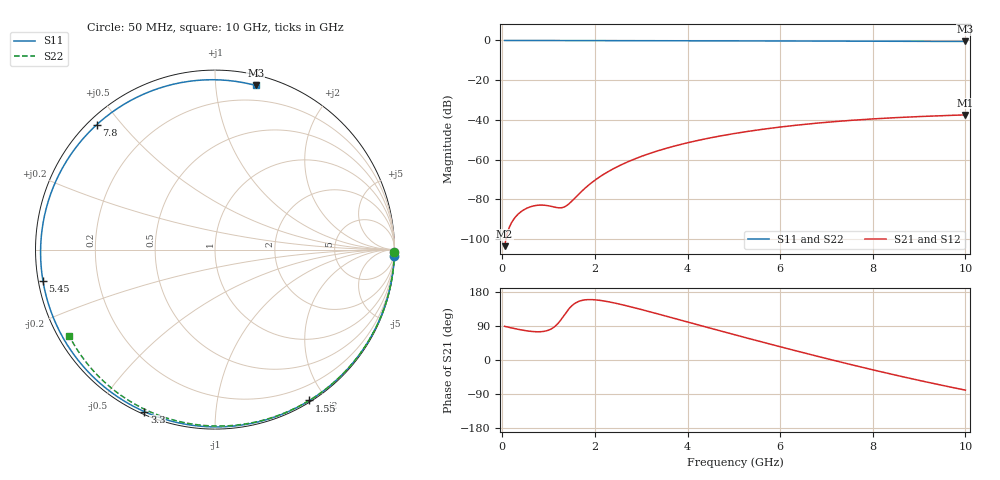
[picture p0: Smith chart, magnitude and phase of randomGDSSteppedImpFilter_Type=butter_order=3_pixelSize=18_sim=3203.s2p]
! freq	dB(S11)	phase(S11)	dB(S12)	phase(S12)
!  dB(S21)	phase(S21)	dB(S22)	phase(S22)
!S-par simulation data
#  GHz  S  DB  R 50
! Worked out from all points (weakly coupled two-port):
!   200 points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, 50 MHz to 10 GHz, reference 50 ohm
!   highest |S21| = -37.50 dB at 10 GHz (marker M1); lowest = -103.6 dB at 50 MHz (marker M2)
!   lowest |S11| = -0.5 dB at 10 GHz (marker M3), VSWR 33.71, Z = 3.9 + j63.8 ohm
!   |S11| at or under -10 dB: nowhere
!   |S22| runs from -0.5 to 0.0 dB; largest |S21 - S12| = 0
!   S11 on the Smith chart (normalised r, x): 50 MHz: 0, -59; 1.55 GHz: 0.02, -1.81; 3.3 GHz: 0.01, -0.65; 5.45 GHz: 0.01, -0.09; 7.8 GHz: 0.03, +0.43; 10 GHz: 0.08, +1.28
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0.05  -0.00 -2.0  -103.64 88.8  -103.64 88.8  -0.00 -0.9
0.4  -0.02 -15.4  -86.35 79.6  -86.35 79.6  -0.01 -6.9
0.75  -0.04 -28.8  -83.07 74.5  -83.07 74.5  -0.02 -12.9
1.15  -0.05 -43.6  -84.07 90.0  -84.07 90.0  -0.03 -19.7
1.55  -0.07 -58.0  -79.83 147.9  -79.83 147.9  -0.03 -26.5
1.75  -0.08 -64.9  -75.21 158.0  -75.21 158.0  -0.04 -29.8
2.05  -0.09 -75.0  -69.58 158.3  -69.58 158.3  -0.04 -34.8
2.4  -0.10 -86.4  -64.62 151.0  -64.62 151.0  -0.05 -40.6
2.8  -0.12 -98.8  -60.26 139.6  -60.26 139.6  -0.06 -47.1
3.3  -0.13 -113.6  -56.04 123.6  -56.04 123.6  -0.07 -55.1
3.4  -0.14 -116.4  -55.31 120.3  -55.31 120.3  -0.08 -56.7
4.25  -0.17 -139.5  -50.24 92.0  -50.24 92.0  -0.10 -69.8
5.05  -0.20 -159.8  -46.74 65.6  -46.74 65.6  -0.13 -81.8
5.45  -0.23 -169.6  -45.31 52.6  -45.31 52.6  -0.14 -87.6
6.05  -0.26 175.9  -43.49 33.4  -43.49 33.4  -0.17 -96.1
6.7  -0.30 160.2  -41.87 13.0  -41.87 13.0  -0.21 -105.2
7.25  -0.33 146.9  -40.75 -3.8  -40.75 -3.8  -0.24 -112.7
7.8  -0.37 133.4  -39.83 -20.1  -39.83 -20.1  -0.28 -120.1
8.35  -0.40 119.6  -39.07 -35.9  -39.07 -35.9  -0.33 -127.4
9.2  -0.46 97.5  -38.16 -59.1  -38.16 -59.1  -0.41 -138.7
9.6  -0.49 86.8  -37.81 -69.5  -37.81 -69.5  -0.46 -144.0
10  -0.52 76.0  -37.50 -79.5  -37.50 -79.5  -0.50 -149.3
